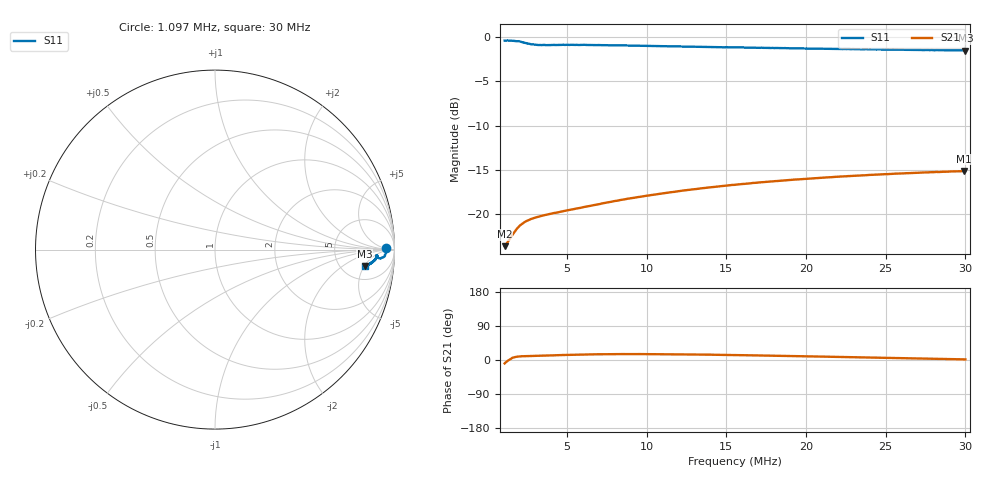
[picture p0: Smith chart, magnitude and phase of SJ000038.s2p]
!File created by NanoVNA-F V2
# Hz S RI R 50
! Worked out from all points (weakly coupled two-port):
!   300 points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, 1.097 MHz to 30 MHz, reference 50 ohm
!   highest |S21| = -15.13 dB at 29.9 MHz (marker M1); lowest = -23.6 dB at 1.097 MHz (marker M2)
!   lowest |S11| = -1.5 dB at 30 MHz (marker M3), VSWR 11.45, Z = 413 - j255 ohm
!   |S11| at or under -10 dB: nowhere
!   S12 and S22 are empty: the file has one direction only
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1096666  0.9555 0.00898  0.0651 -0.0105  0 0  0 0
1386664  0.9531 -0.00713  0.0715 0.000597  0 0  0 0
1579996  0.9526 -0.0177  0.0759 0.0077  0 0  0 0
1869994  0.9459 -0.0303  0.0819 0.0125  0 0  0 0
1966660  0.9469 -0.0357  0.0835 0.0135  0 0  0 0
2063326  0.9413 -0.0408  0.0852 0.0144  0 0  0 0
2449990  0.9225 -0.0504  0.0899 0.0163  0 0  0 0
2739988  0.9097 -0.0466  0.0923 0.0171  0 0  0 0
3223318  0.9001 -0.0388  0.0949 0.0186  0 0  0 0
3706648  0.8994 -0.0326  0.0972 0.0203  0 0  0 0
4383310  0.9012 -0.0315  0.0997 0.0224  0 0  0 0
4769974  0.9044 -0.0331  0.1012 0.0237  0 0  0 0
5156638  0.9012 -0.034  0.1025 0.0249  0 0  0 0
5929966  0.9026 -0.0385  0.1056 0.027  0 0  0 0
8346616  0.8955 -0.0509  0.1158 0.0321  0 0  0 0
1.076327e7  0.8872 -0.0611  0.1254 0.0345  0 0  0 0
1.259992e7  0.8799 -0.0671  0.1326 0.0348  0 0  0 0
1.559657e7  0.871 -0.0747  0.1431 0.0328  0 0  0 0
2.042987e7  0.8561 -0.0835  0.157 0.0261  0 0  0 0
2.526317e7  0.8439 -0.0886  0.1677 0.0161  0 0  0 0
2.990313e7  0.8346 -0.0905  0.1752 0.00527  0 0  0 0
2.99998e7  0.8343 -0.0912  0.1752 0.00494  0 0  0 0
